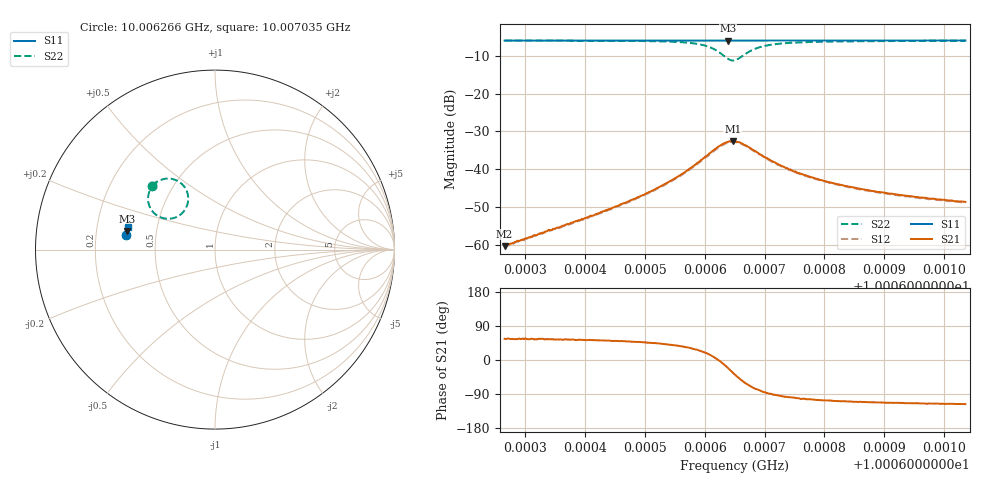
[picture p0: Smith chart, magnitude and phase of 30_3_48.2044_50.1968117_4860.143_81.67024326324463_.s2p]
#  HZ  S  RI  R  50.00
! Rohde & Schwarz Vector Network Analyzer
! Rohde-Schwarz,ZNB20-2Port,1311601062101988,3.16
! Created: UTC 3/20/2024, 11:37:20 AM
! freq[Hz]  re:S11  im:S11  re:S21  im:S21  re:S12  im:S12  re:S22  im:S22
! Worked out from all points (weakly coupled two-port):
!   401 points, 10.006266 GHz to 10.007035 GHz, reference 50 ohm
!   highest |S21| = -32.56 dB at 10.006647 GHz (marker M1); lowest = -60.3 dB at 10.006266 GHz (marker M2)
!   lowest |S11| = -6.0 dB at 10.006639 GHz (marker M3), VSWR 3.00, Z = 16.8 + j4.63 ohm
!   |S11| at or under -10 dB: nowhere
!   |S22| runs from -11.3 to -6.0 dB; largest |S21 - S12| = 0.0015
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1.00062661e10  -0.4957 0.0795  0.00054 0.000797  0.000512 0.000817  -0.3501 0.3566
1.00062776e10  -0.4957 0.0802  0.000589 0.000853  0.000525 0.000852  -0.3492 0.3576
1.00063949e10  -0.4946 0.0879  0.00132 0.00176  0.00121 0.00174  -0.3352 0.3698
1.00064661e10  -0.4936 0.0926  0.00232 0.00271  0.00215 0.00277  -0.3202 0.3799
1.00065238e10  -0.4932 0.0965  0.00419 0.004  0.0039 0.00405  -0.2972 0.3903
1.00065603e10  -0.4923 0.099  0.0068 0.00502  0.00644 0.00517  -0.2684 0.3958
1.00065988e10  -0.4914 0.1017  0.0132 0.00499  0.0126 0.00531  -0.2077 0.3822
1.0006618e10  -0.4906 0.1026  0.0185 0.00161  0.0178 0.0025  -0.1646 0.3405
1.00066296e10  -0.49 0.103  0.0211 -0.00299  0.0206 -0.00183  -0.1492 0.291
1.00066392e10  -0.4896 0.1032  0.0214 -0.00848  0.0213 -0.00705  -0.1578 0.2401
1.00066469e10  -0.4897 0.1031  0.0197 -0.0129  0.0199 -0.0114  -0.1828 0.2035
1.00066507e10  -0.4898 0.1031  0.0183 -0.0147  0.0185 -0.0132  -0.2001 0.1896
1.00066623e10  -0.4902 0.1034  0.0129 -0.0178  0.0135 -0.0167  -0.2583 0.1715
1.00066757e10  -0.4906 0.1041  0.00698 -0.0178  0.00775 -0.0171  -0.313 0.1843
1.00066988e10  -0.4909 0.1057  0.00138 -0.0146  0.00219 -0.0143  -0.358 0.2275
1.0006718e10  -0.4909 0.1072  -0.000466 -0.0122  0.000201 -0.0119  -0.3699 0.2569
1.0006745e10  -0.4907 0.109  -0.00147 -0.0096  -0.00112 -0.00951  -0.3732 0.2845
1.00067796e10  -0.4904 0.1115  -0.00188 -0.00753  -0.00154 -0.0075  -0.3706 0.3068
1.00068392e10  -0.4897 0.1155  -0.00195 -0.00557  -0.0017 -0.00555  -0.3639 0.3282
1.00069084e10  -0.4887 0.1198  -0.00183 -0.0044  -0.00162 -0.00441  -0.3567 0.3423
1.000697e10  -0.4881 0.1239  -0.00177 -0.00378  -0.00154 -0.00377  -0.3514 0.3509
1.00070354e10  -0.4869 0.1281  -0.00164 -0.00331  -0.00144 -0.00331  -0.3464 0.3579
